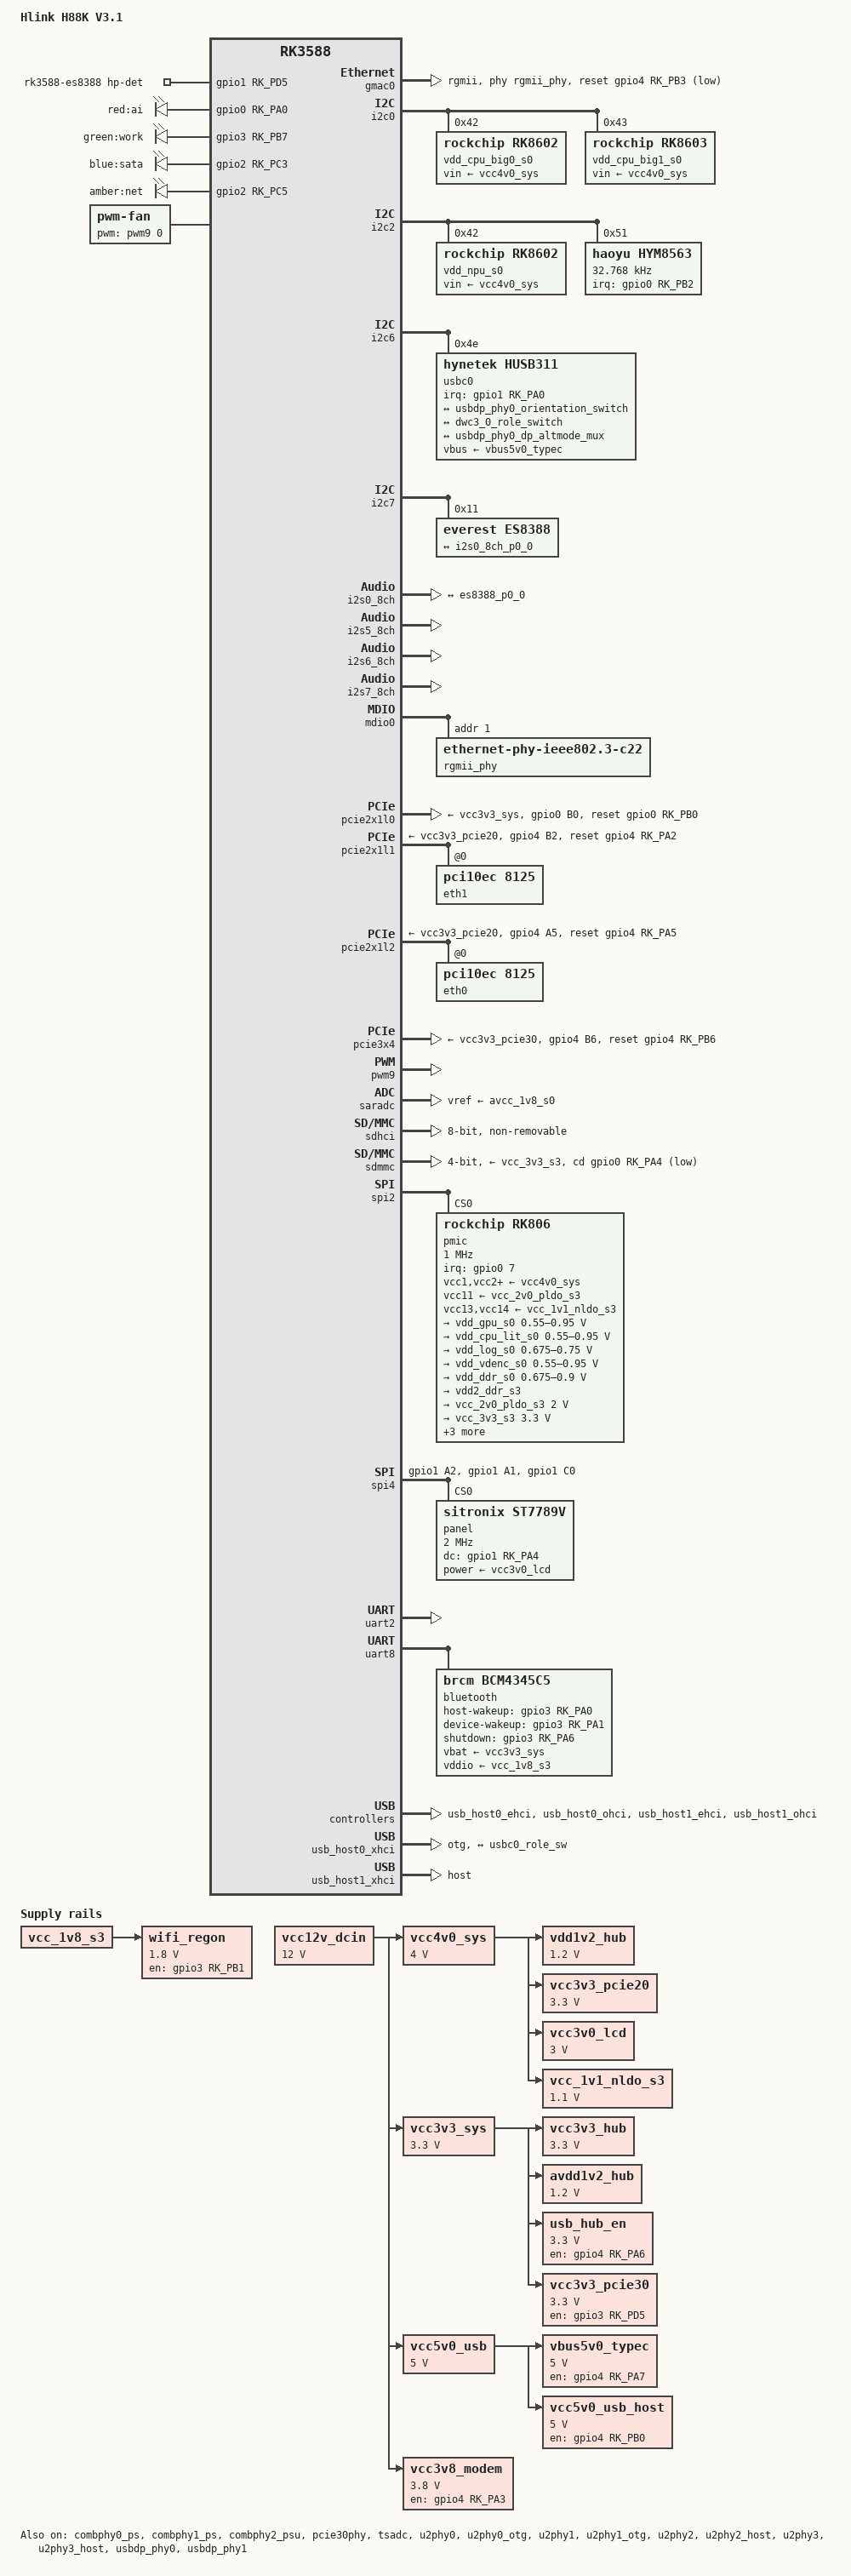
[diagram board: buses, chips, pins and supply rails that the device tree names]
// SPDX-License-Identifier: (GPL-2.0+ OR MIT)
// Copyright (c) 2024 Flippy <flippy@sina.com>

/dts-v1/;

#include <dt-bindings/gpio/gpio.h>
#include <dt-bindings/input/input.h>
#include <dt-bindings/leds/common.h>
#include <dt-bindings/pinctrl/rockchip.h>
#include <dt-bindings/pwm/pwm.h>
#include <dt-bindings/usb/pd.h>
#include "rk3588.dtsi"

/ {
	model = "Hlink H88K V3.1";
	compatible = "hlink,h88k-v31", "hlink,h88k-v3", "rockchip,rk3588";

	aliases {
		mmc0 = &sdmmc;
		mmc1 = &sdhci;
		mmc2 = &sdio;
		rtc0 = &hym8563;
	};

	chosen: chosen {
		stdout-path = "serial2:1500000n8";
	};

	analog_sound: analog-sound {
		compatible = "audio-graph-card";
		label = "rk3588-es8388";

		widgets = "Microphone", "Mic Jack",
			  "Headphone", "Headphones";

		routing = "MIC2", "Mic Jack",
			  "Headphones", "HPOL",
			  "Headphones", "HPOR";

		dais = <&i2s0_8ch_p0>;
		hp-det-gpio = <&gpio1 RK_PD5 GPIO_ACTIVE_HIGH>;
		pinctrl-names = "default";
		pinctrl-0 = <&hp_detect>;
	};

	gpio_leds: gpio-leds {
		compatible = "gpio-leds";
		pinctrl-names = "default";
		pinctrl-0 = <&led_red_ai_pin>,
		            <&led_green_work_pin>,
		            <&led_blue_sata_pin>,
		            <&led_amber_net_pin>;

		led_red_ai: led-red-ai {
			label = "red:ai";
			gpios = <&gpio0 RK_PA0 GPIO_ACTIVE_HIGH>;
			linux,default-trigger = "heartbeat";
		};

		led_green_work: led-green-work {
			label = "green:work";
			gpios = <&gpio3 RK_PB7 GPIO_ACTIVE_HIGH>;
		};

		led_blue_sata: led-blue-sata {
			label = "blue:sata";
			gpios = <&gpio2 RK_PC3 GPIO_ACTIVE_HIGH>;
		};

		led_amber_net: led-amber-net {
			label = "amber:net";
			gpios = <&gpio2 RK_PC5 GPIO_ACTIVE_HIGH>;
		};
	};

	reserved_momory: reserved-memory {
		#address-cells = <2>;
		#size-cells = <2>;
		ranges;

		/* Reserve 256MB memory for hdmirx-controller@fdee0000
		 * remove the node if hdmirx is disabled 
		 */
		cma_hdmirx: cma-hdmirx {
			compatible = "shared-dma-pool";
			reusable;
			size = <0x0 (256 * 0x100000)>;
			status = "disabled";
		};
	};

	/* dc-in or typec-in: maximum supported voltage: 22V */
	vcc12v_dcin: vcc12v-dcin {
		compatible = "regulator-fixed";
		regulator-name = "vcc12v_dcin";
		regulator-always-on;
		regulator-boot-on;
		regulator-min-microvolt = <12000000>;
		regulator-max-microvolt = <12000000>;
	};

	/* vcc4v0_sys
	 * supply by dc_in
	 * DC-DC convert by MP2491C
	 * maximum load current 6A
	 */
	vcc4v0_sys: vcc4v0-sys {
		compatible = "regulator-fixed";
		regulator-name = "vcc4v0_sys";
		regulator-always-on;
		regulator-boot-on;
		regulator-min-microvolt = <4000000>;
		regulator-max-microvolt = <4000000>;
		startup-delay-us = <100000>;
		vin-supply = <&vcc12v_dcin>;
	};

	/* vcc3v3_sys
	 * supply by dc_in, but enabled by vcc4v0_sys
	 * DC-DC convert by MP2491C
	 * maximum load current 6A
	 */
	vcc3v3_sys: vcc3v3-sys {
		compatible = "regulator-fixed";
		regulator-name = "vcc3v3_sys";
		regulator-always-on;
		regulator-boot-on;
		regulator-min-microvolt = <3300000>;
		regulator-max-microvolt = <3300000>;
		startup-delay-us = <100000>;
		vin-supply = <&vcc12v_dcin>;
	};

	/* vcc5v0_usb:
	 * supply by dc_in, but enabled by vcc3v3_sys
	 * DC-DC convert by MP2491C
	 * maximum load current 6A
	 */
	vcc5v0_usb: vcc5v0-usb {
		compatible = "regulator-fixed";
		regulator-name = "vcc5v0_usb";
		regulator-always-on;
		regulator-boot-on;
		regulator-min-microvolt = <5000000>;
		regulator-max-microvolt = <5000000>;
		vin-supply = <&vcc12v_dcin>;
	};

	/* vbusb5v0 typec
	 * power switch by TMI6263BH
	 */
	vbus5v0_typec: vbus5v0-typec {
		compatible = "regulator-fixed";
		regulator-name = "vbus5v0_typec";
		regulator-min-microvolt = <5000000>;
		regulator-max-microvolt = <5000000>;
		regulator-boot-on;
		enable-active-high;
		gpio = <&gpio4 RK_PA7 GPIO_ACTIVE_HIGH>;
		pinctrl-names = "default";
		pinctrl-0 = <&vbus5v0_typec_en>;
		vin-supply = <&vcc5v0_usb>;
	};

	/* vcc5v0 usbhost
	 * power switch by TMI6263BH
	 */
	vcc5v0_usb_host: vcc5v0-usb-host {
		compatible = "regulator-fixed";
		regulator-name = "vcc5v0_usb_host";
		regulator-min-microvolt = <5000000>;
		regulator-max-microvolt = <5000000>;
		enable-active-high;
		gpio = <&gpio4 RK_PB0 GPIO_ACTIVE_HIGH>;
		pinctrl-names = "default";
		pinctrl-0 = <&vcc5v0_usb_host_en>;
		vin-supply = <&vcc5v0_usb>;
	};

	/* vcc3v8_modem
	 * DC-DC convert by MP2315
	 * maximum load current 3A
	 */
	vcc3v8_modem: vcc3v8-modem {
		compatible = "regulator-fixed";
		enable-active-high;
		regulator-always-on;
		regulator-boot-on;
		gpios = <&gpio4 RK_PA3 GPIO_ACTIVE_HIGH>;
		regulator-min-microvolt = <3800000>;
		regulator-max-microvolt = <3800000>;
		regulator-name = "vcc3v8_modem";
		pinctrl-names = "default";
		pintctrl-0 = <&vcc3v8_modem_pwren>;
		vin-supply = <&vcc12v_dcin>;
	};

	/* 
	 * vcc3v3 hub
	 */
	vcc3v3_hub: vcc3v3-hub {
		compatible = "regulator-fixed";
		regulator-name = "vcc3v3_hub";
		regulator-always-on;
		regulator-boot-on;
		regulator-min-microvolt = <3300000>;
		regulator-max-microvolt = <3300000>;
		vin-supply = <&vcc3v3_sys>;
	};

	/*
	 * vdd1v2_hub:
	 * DC-DC 1.2V for GL3523 USB HUB
	 * convert by SY8089A1AAC
	 * maximum load current 2A
	 */
	vdd1v2_hub: vdd1v2-hub {
		compatible = "regulator-fixed";
		regulator-name = "vdd1v2_hub";
		regulator-always-on;
		regulator-boot-on;
		regulator-min-microvolt = <1200000>;
		regulator-max-microvolt = <1200000>;
		vin-supply = <&vcc4v0_sys>;
	};

	/* avdd1v2_hub:
	 * LDO 1.2V for GL3523 USB HUB
	 */
	avdd1v2_hub: avdd1v2-hub {
		compatible = "regulator-fixed";
		regulator-name = "avdd1v2_hub";
		regulator-always-on;
		regulator-boot-on;
		regulator-min-microvolt = <1200000>;
		regulator-max-microvolt = <1200000>;
		vin-supply = <&vcc3v3_sys>;
	};

	/* Actually, pull the reset pin of the USB hub high */
	usb_hub_en: usb-hub-en {
		compatible = "regulator-fixed";
		enable-active-high;
		pinctrl-names = "default";
		pintctrl-0 = <&usb_hub_rst_pin>;
		gpio = <&gpio4 RK_PA6 GPIO_ACTIVE_HIGH>;
		regulator-boot-on;
		regulator-always-on;
		regulator-min-microvolt = <3300000>;
		regulator-max-microvolt = <3300000>;
		regulator-name = "usb-hub-en";
		startup-delay-us = <50000>;
		vin-supply = <&vcc3v3_sys>;
	};

	vcc3v3_pcie20: vcc3v3-pcie20 {
		compatible = "regulator-fixed";
		regulator-name = "vcc3v3_pcie20";
		regulator-min-microvolt = <3300000>;
		regulator-max-microvolt = <3300000>;
		regulator-always-on;
		regulator-boot-on;
		vin-supply = <&vcc4v0_sys>;
	};

	vcc3v3_pcie30: vcc3v3-pcie30 {
		compatible = "regulator-fixed";
		regulator-name = "vcc3v3_pcie30";
		regulator-min-microvolt = <3300000>;
		regulator-max-microvolt = <3300000>;
		enable-active-high;
		gpios = <&gpio3 RK_PD5 GPIO_ACTIVE_HIGH>;
		startup-delay-us = <100000>;
		vin-supply = <&vcc3v3_sys>;
	};

	vcc3v0_lcd: vcc3v0-lcd {
		compatible = "regulator-fixed";
		regulator-name = "vcc3v0_lcd";
		regulator-always-on;
		regulator-boot-on;
		regulator-min-microvolt = <3000000>;
		regulator-max-microvolt = <3000000>;
		vin-supply = <&vcc4v0_sys>;
	};

	vcc_1v1_nldo_s3: vcc-1v1-nldo-s3 {
		compatible = "regulator-fixed";
		regulator-name = "vcc_1v1_nldo_s3";
		regulator-always-on;
		regulator-boot-on;
		regulator-min-microvolt = <1100000>;
		regulator-max-microvolt = <1100000>;
		vin-supply = <&vcc4v0_sys>;
	};

	/* wifi regon support some wifi modules like rtl8723be */
	wifi_regon: wifi-regon {
		compatible = "regulator-fixed";
		enable-active-high;
		gpio = <&gpio3 RK_PB1 GPIO_ACTIVE_HIGH>;
		regulator-boot-on;
		regulator-always-on;
		regulator-min-microvolt = <1800000>;
		regulator-max-microvolt = <1800000>;
		regulator-name = "wifi_regon";
		startup-delay-us = <5000>;
		vin-supply = <&vcc_1v8_s3>;
	};

	fan: pwm-fan {
		compatible = "pwm-fan";
		#cooling-cells = <2>;
		cooling-levels = <0 64 128 192 255>;
		pwms = <&pwm9 0 50000 0>;
	};

	rfkill: rfkill {
		compatible = "rfkill-gpio";

		rfkill_modem: rfkill-modem {
			label = "rfkill-modem";
			radio-type = "wwan";
			reset-gpios = <&gpio4 RK_PC6 GPIO_ACTIVE_HIGH>;
			pinctrl-names = "default";
			pinctrl-0 = <&modem_reset_pin>;
		};
	};
};

&combphy0_ps {
	status = "okay";
};

&combphy1_ps {
	status = "okay";
};

&combphy2_psu {
	status = "okay";
};

&cpu_b0 {
	cpu-supply = <&vdd_cpu_big0_s0>;
};

&cpu_b1 {
	cpu-supply = <&vdd_cpu_big0_s0>;
};

&cpu_b2 {
	cpu-supply = <&vdd_cpu_big1_s0>;
};

&cpu_b3 {
	cpu-supply = <&vdd_cpu_big1_s0>;
};

&cpu_l0 {
	cpu-supply = <&vdd_cpu_lit_s0>;
};

&cpu_l1 {
	cpu-supply = <&vdd_cpu_lit_s0>;
};

&cpu_l2 {
	cpu-supply = <&vdd_cpu_lit_s0>;
};

&cpu_l3 {
	cpu-supply = <&vdd_cpu_lit_s0>;
};

/* gmac0: eth2 */
&gmac0 {
	status = "okay";
	label = "eth2";
	pinctrl-names = "default";
	pinctrl-0 = <&gmac0_miim
		     &gmac0_tx_bus2
		     &gmac0_rx_bus2
		     &gmac0_rgmii_clk
		     &gmac0_rgmii_bus>;

	phy-handle = <&rgmii_phy>;

	clock_in_out = "output";
	phy-mode = "rgmii";
	tx_delay = <0x3e>;
	rx_delay = <0x2f>;

	snps,reset-gpio = <&gpio4 RK_PB3 GPIO_ACTIVE_LOW>;
	snps,reset-active-low;
	/* Reset time is 20ms, 100ms for rtl8211f */
	snps,reset-delays-us = <0 20000 100000>;
};

&i2c0 {
	pinctrl-names = "default";
	pinctrl-0 = <&i2c0m2_xfer>;
	status = "okay";

	vdd_cpu_big0_s0: regulator@42 {
		compatible = "rockchip,rk8602";
		reg = <0x42>;
		fcs,suspend-voltage-selector = <1>;
		regulator-name = "vdd_cpu_big0_s0";
		regulator-always-on;
		regulator-boot-on;
		regulator-min-microvolt = <550000>;
		regulator-max-microvolt = <1050000>;
		regulator-ramp-delay = <2300>;
		vin-supply = <&vcc4v0_sys>;

		regulator-state-mem {
			regulator-off-in-suspend;
		};
	};

	vdd_cpu_big1_s0: regulator@43 {
		compatible = "rockchip,rk8603", "rockchip,rk8602";
		reg = <0x43>;
		fcs,suspend-voltage-selector = <1>;
		regulator-name = "vdd_cpu_big1_s0";
		regulator-always-on;
		regulator-boot-on;
		regulator-min-microvolt = <550000>;
		regulator-max-microvolt = <1050000>;
		regulator-ramp-delay = <2300>;
		vin-supply = <&vcc4v0_sys>;

		regulator-state-mem {
			regulator-off-in-suspend;
		};
	};
};

&i2c2 {
	status = "okay";

	vdd_npu_s0: regulator@42 {
		compatible = "rockchip,rk8602";
		reg = <0x42>;
		fcs,suspend-voltage-selector = <1>;
		regulator-name = "vdd_npu_s0";
		regulator-always-on;
		regulator-boot-on;
		regulator-min-microvolt = <550000>;
		regulator-max-microvolt = <950000>;
		regulator-ramp-delay = <2300>;
		vin-supply = <&vcc4v0_sys>;

		regulator-state-mem {
			regulator-off-in-suspend;
		};
	};

	hym8563: rtc@51 {
		compatible = "haoyu,hym8563";
		reg = <0x51>;
		#clock-cells = <0>;
		clock-frequency = <32768>;
		clock-output-names = "hym8563";
		pinctrl-names = "default";
		pinctrl-0 = <&rtc_int>;
		interrupt-parent = <&gpio0>;
		interrupts = <RK_PB2 IRQ_TYPE_LEVEL_LOW>;
		wakeup-source;
	};
};

&i2c6 {
	status = "okay";

	usbc0: husb311@4e {
		status = "okay";
		compatible = "hynetek,husb311";
		reg = <0x4e>;
		interrupt-parent = <&gpio1>;
		interrupts = <RK_PA0 IRQ_TYPE_LEVEL_LOW>;
		pinctrl-names = "default";
		pinctrl-0 = <&usbc0_int>;
		vbus-supply = <&vbus5v0_typec>;

		usb_con: connector {
			compatible = "usb-c-connector";
			data-role = "dual";
			label = "USB-C";
			power-role = "source";
			source-pdos =
				<PDO_FIXED(5000, 3000, PDO_FIXED_USB_COMM)>;

			ports {
				#address-cells = <1>;
				#size-cells = <0>;

				port@0 {
					reg = <0>;

					usbc0_orien_sw: endpoint {
						remote-endpoint = <&usbdp_phy0_orientation_switch>;
					};
				};

				port@1 {
					reg = <1>;

					usbc0_role_sw: endpoint {
						remote-endpoint = <&dwc3_0_role_switch>;
					};
				};

				port@2 {
					reg = <2>;

					dp_altmode_mux: endpoint {
						remote-endpoint = <&usbdp_phy0_dp_altmode_mux>;
					};
				};
			};
		};
	};
};

&i2c7 {
	status = "okay";

	es8388: audio-codec@11 {
		compatible = "everest,es8388", "everest,es8323";
		reg = <0x11>;
		clocks = <&cru I2S0_8CH_MCLKOUT>;
		clock-names = "mclk";
		assigned-clocks = <&cru I2S0_8CH_MCLKOUT>;
		assigned-clock-rates = <12288000>;
		#sound-dai-cells = <0>;

		port {
			es8388_p0_0: endpoint {
				remote-endpoint = <&i2s0_8ch_p0_0>;
			};
		};
	};
};

&i2s0_8ch {
	pinctrl-names = "default";
	pinctrl-0 = <&i2s0_lrck
		     &i2s0_mclk
		     &i2s0_sclk
		     &i2s0_sdi0
		     &i2s0_sdo0>;
	status = "okay";

	i2s0_8ch_p0: port {
		i2s0_8ch_p0_0: endpoint {
			dai-format = "i2s";
			mclk-fs = <256>;
			remote-endpoint = <&es8388_p0_0>;
		};
	};
};

&i2s5_8ch {
	status = "okay";
};

&i2s6_8ch {
	status = "okay";
};

&i2s7_8ch {
	status = "okay";
};

&mdio0 {
	rgmii_phy: phy@1 {
		compatible = "ethernet-phy-ieee802.3-c22";
		reg = <0x1>;
	};
};

&package_thermal {
	polling-delay = <1000>;

	trips {
		package_fan0: package-fan0 {
			temperature = <55000>;
			hysteresis = <2000>;
			type = "active";
		};

		package_fan1: package-fan1 {
			temperature = <65000>;
			hysteresis = <2000>;
			type = "active";
		};
	};

	cooling-maps {
		map0 {
			trip = <&package_fan0>;
			cooling-device = <&fan THERMAL_NO_LIMIT 1>;
		};

		map1 {
			trip = <&package_fan1>;
			cooling-device = <&fan 2 THERMAL_NO_LIMIT>;
		};
	};
};

/*
 * pce2x1l0 or sata1 => combphy1_ps
 * H88K v3.1: pcie2x1l0 is M.2 (A+E Key) socket for WiFi/Bluetooth
 */
&pcie2x1l0 {
	pinctrl-names = "default";
	pinctrl-0 = <&pcie2_0_rst>;
	reset-gpios = <&gpio0 RK_PB0 GPIO_ACTIVE_HIGH>;
	status = "okay";
	vpcie3v3-supply = <&vcc3v3_sys>;
};

/*
 * pcie2x1l1 or sata2 or usb30_2 => combphy2_psu
 * combphy2_psu: pcie2x1l1 or sata2 or (usbhost3_0 + usbhost_dwc3_0)
 * H88K V3.1: pcie2x1l1 used for rtl8125b
 */
&pcie2x1l1 {
        pinctrl-names = "default";
        pinctrl-0 = <&pcie2_1_rst>;
	reset-gpios = <&gpio4 RK_PA2 GPIO_ACTIVE_HIGH>;
	status = "okay";
	vpcie3v3-supply = <&vcc3v3_pcie20>;

	pcie@0,0 {
		reg = <0x00300000 0 0 0 0>;
		#address-cells = <3>;
		#size-cells = <2>;

		rtl8125_1: pcie-eth@0,0 {
			compatible = "pci10ec,8125";
			label = "eth1";
			reg = <0x000000 0 0 0 0>;

			/*
			 * G+ 3v3
			 * G- LED3: ACT on all speed
			 * Y+ 3v3
			 * Y- LED2: LINK on 10 + 100 + 1000 + 2500
			 */
			r8125,led2 = <0x002b>;
			r8125,led3 = <0x0200>;
		};
	};
};

/* rtl8125b eth0 */
&pcie2x1l2 {
	pinctrl-names = "default";
	pinctrl-0 = <&pcie2_2_rst>;
	reset-gpios = <&gpio4 RK_PA5 GPIO_ACTIVE_HIGH>;
	status = "okay";
	vpcie3v3-supply = <&vcc3v3_pcie20>;

	pcie@0,0 {
		reg = <0x00400000 0 0 0 0>;
		#address-cells = <3>;
		#size-cells = <2>;

		rtl8125_2: pcie-eth@0,0 {
			compatible = "pci10ec,8125";
			label = "eth0";
			reg = <0x000000 0 0 0 0>;

			/*
			 * G+ 3v3
			 * G- LED3: ACT on all speed
			 * Y+ 3v3
			 * Y- LED2: LINK on 10 + 100 + 1000 + 2500
			 */
			r8125,led2 = <0x002b>;
			r8125,led3 = <0x0200>;
		};
	};
};

&pcie30phy {
	status = "okay";
};

/*
 * pcie3x4 => pcie30phy
 * H88K v3.1: pcie3x4 is M.2 (M Key) socket for NVME ssd
 */
&pcie3x4 {
	pinctrl-names = "default";
	pinctrl-0 = <&pcie3_rst>;
	reset-gpios = <&gpio4 RK_PB6 GPIO_ACTIVE_HIGH>;
	status = "okay";
	vpcie3v3-supply = <&vcc3v3_pcie30>;
};

&pinctrl {
	audio {
		hp_detect: headphone-detect {
			rockchip,pins = <1 RK_PD5 RK_FUNC_GPIO &pcfg_pull_none>;
		};
	};

	bt {
		bt_wake_host_h: bt-wake-host-h {
			rockchip,pins = <3 RK_PA0 RK_FUNC_GPIO &pcfg_pull_none>;
		};

		host_wake_bt_h: host-wake-bt-h {
			rockchip,pins = <3 RK_PA1 RK_FUNC_GPIO &pcfg_pull_none>;
		};

		bt_reg_on_h: bt-reg-on-h {
			rockchip,pins = <3 RK_PA6 RK_FUNC_GPIO &pcfg_pull_none>;
		};

	};

	hdmirx {
		hdmirx_det: hdmirx-det {
			rockchip,pins = <2 RK_PB5 RK_FUNC_GPIO &pcfg_pull_up>;
		};
	};

	ir {
		ir_int_pin: ir-int-pin {
			rockchip,pins = <0 RK_PD4 RK_FUNC_GPIO &pcfg_pull_up>;
		};
	};

	lcd {
		lcd_dc_pin: lcd-dc-pin {
			rockchip,pins = <1 RK_PA4 RK_FUNC_GPIO &pcfg_pull_up_drv_level_6>;
		};

		spi4_custom_pins: spi4-custom-pins {
			rockchip,pins =
				/* spi4_clk_m2 */
				<1 RK_PA2 8 &pcfg_pull_up_drv_level_6>,
				/* spi4_mosi_m2 */
				<1 RK_PA1 8 &pcfg_pull_up_drv_level_6>,
				/* spi4_miso_m0 */
				<1 RK_PC0 8 &pcfg_pull_up_drv_level_6>;
		};
	};

	leds {
		led_red_ai_pin: led-red-ai-pin {
			rockchip,pins = <0 RK_PA0 RK_FUNC_GPIO &pcfg_pull_none>;
		};

		led_green_work_pin: led-green-work-pin {
			rockchip,pins = <3 RK_PB7 RK_FUNC_GPIO &pcfg_pull_none>;
		};

		led_blue_sata_pin: led-blue-sata-pin {
			rockchip,pins = <2 RK_PC3 RK_FUNC_GPIO &pcfg_pull_none>;
		};

		led_amber_net_pin: led-amber-net-pin {
			rockchip,pins = <2 RK_PC5 RK_FUNC_GPIO &pcfg_pull_none>;
		};
	};

	modem {
		vcc3v8_modem_pwren: vcc3v8-modem-pwren {
			rockchip,pins = <4 RK_PA3 RK_FUNC_GPIO &pcfg_pull_none>;
		};

		modem_reset_pin: modem-reset-pin {
			rockchip,pins = <4 RK_PC6 RK_FUNC_GPIO &pcfg_pull_down>;
		};
	};

	pcie2 {
		pcie2_0_rst: pcie2-0-rst {
			rockchip,pins = <0 RK_PB0 RK_FUNC_GPIO &pcfg_pull_none>;
		};

		pcie2_1_rst: pcie2-1-rst {
			rockchip,pins = <4 RK_PB2 RK_FUNC_GPIO &pcfg_pull_none>;
		};

		pcie2_2_rst: pcie2-2-rst {
			rockchip,pins = <4 RK_PA5 RK_FUNC_GPIO &pcfg_pull_none>;
		};
	};

	pcie3 {
		pcie3_rst: pcie3-rst {
			rockchip,pins = <4 RK_PB6 RK_FUNC_GPIO &pcfg_pull_none>;
		};
	};

	rtc {
		rtc_int: rtc-int {
			rockchip,pins = <0 RK_PB2 RK_FUNC_GPIO &pcfg_pull_none>;
		};
	};

	usb {
		usbc0_int: usbc0-int {
			rockchip,pins = <1 RK_PA0 RK_FUNC_GPIO &pcfg_pull_none>;
		};

		usb_hub_rst_pin: usb-hub-rst-pin {
			rockchip,pins = <4 RK_PA6 RK_FUNC_GPIO &pcfg_pull_none>;
		};

		vbus5v0_typec_en: vbus5v0-typec-en {
			rockchip,pins = <4 RK_PA7 RK_FUNC_GPIO &pcfg_pull_none>;
		};

		vcc5v0_usb_host_en: vcc5v0_usb_host_en {
			rockchip,pins = <4 RK_PB0 RK_FUNC_GPIO &pcfg_pull_none>;
		};
	};
};

&pwm9 {
	pinctrl-names = "default";
	pinctrl-0 = <&pwm9m0_pins>;
	status = "okay";
};

&saradc {
	vref-supply = <&avcc_1v8_s0>;
	status = "okay";
};

&sdhci {
	bus-width = <8>;
	no-sdio;
	no-sd;
	non-removable;
	mmc-ddr-1_8v;
	mmc-hs200-1_8v;
	status = "okay";
};

&sdmmc {
	max-frequency = <200000000>;
	no-sdio;
	no-mmc;
	bus-width = <4>;
	cap-mmc-highspeed;
	cap-sd-highspeed;
	cd-gpios = <&gpio0 RK_PA4 GPIO_ACTIVE_LOW>;
	disable-wp;
	sd-uhs-sdr104;
	vmmc-supply = <&vcc_3v3_s3>;
	vqmmc-supply = <&vccio_sd_s0>;
	status = "okay";
};

&spi2 {
	status = "okay";
	assigned-clocks = <&cru CLK_SPI2>;
	assigned-clock-rates = <200000000>;
	pinctrl-names = "default";
	pinctrl-0 = <&spi2m2_cs0 &spi2m2_pins>;
	num-cs = <1>;

	pmic@0 {
		compatible = "rockchip,rk806";
		spi-max-frequency = <1000000>;
		reg = <0x0>;

		interrupt-parent = <&gpio0>;
		interrupts = <7 IRQ_TYPE_LEVEL_LOW>;

		pinctrl-names = "default";
		pinctrl-0 = <&pmic_pins>, <&rk806_dvs1_null>,
			    <&rk806_dvs2_null>, <&rk806_dvs3_null>;
		pinctrl-1 = <&rk806_dvs1_pwrdn>;

		/* 2800mv-3500mv */
		low_voltage_threshold = <3000>;
		/* 2700mv-3400mv */
		shutdown_voltage_threshold = <2700>;
		/* 140 160 */
		shutdown_temperture_threshold = <160>;
		hotdie_temperture_threshold = <115>;

		/* 0: restart PMU;
		 * 1: reset all the power off reset registers,
		 *    forcing the state to switch to ACTIVE mode;
		 * 2: Reset all the power off reset registers,
		 *    forcing the state to switch to ACTIVE mode,
		 *    and simultaneously pull down the RESETB PIN for 5mS before releasing
		 */
		pmic-reset-func = <2>;

		system-power-controller;

		vcc1-supply = <&vcc4v0_sys>;
		vcc2-supply = <&vcc4v0_sys>;
		vcc3-supply = <&vcc4v0_sys>;
		vcc4-supply = <&vcc4v0_sys>;
		vcc5-supply = <&vcc4v0_sys>;
		vcc6-supply = <&vcc4v0_sys>;
		vcc7-supply = <&vcc4v0_sys>;
		vcc8-supply = <&vcc4v0_sys>;
		vcc9-supply = <&vcc4v0_sys>;
		vcc10-supply = <&vcc4v0_sys>;
		vcc11-supply = <&vcc_2v0_pldo_s3>;
		vcc12-supply = <&vcc4v0_sys>;
		vcc13-supply = <&vcc_1v1_nldo_s3>;
		vcc14-supply = <&vcc_1v1_nldo_s3>;
		vcca-supply = <&vcc4v0_sys>;

		pinctrl_rk806: pinctrl_rk806 {
			gpio-controller;
			#gpio-cells = <2>;

			rk806_dvs1_null: rk806_dvs1_null {
				pins = "gpio_pwrctrl1";
				function = "pin_fun0";
			};

			rk806_dvs1_slp: rk806_dvs1_slp {
				pins = "gpio_pwrctrl1";
				function = "pin_fun1";
			};

			rk806_dvs1_pwrdn: rk806_dvs1_pwrdn {
				pins = "gpio_pwrctrl1";
				function = "pin_fun2";
			};

			rk806_dvs1_rst: rk806_dvs1_rst {
				pins = "gpio_pwrctrl1";
				function = "pin_fun3";
			};

			rk806_dvs2_null: rk806_dvs2_null {
				pins = "gpio_pwrctrl2";
				function = "pin_fun0";
			};

			rk806_dvs2_slp: rk806_dvs2_slp {
				pins = "gpio_pwrctrl2";
				function = "pin_fun1";
			};

			rk806_dvs2_pwrdn: rk806_dvs2_pwrdn {
				pins = "gpio_pwrctrl2";
				function = "pin_fun2";
			};

			rk806_dvs2_rst: rk806_dvs2_rst {
				pins = "gpio_pwrctrl2";
				function = "pin_fun3";
			};

			rk806_dvs2_dvs: rk806_dvs2_dvs {
				pins = "gpio_pwrctrl2";
				function = "pin_fun4";
			};

			rk806_dvs2_gpio: rk806_dvs2_gpio {
				pins = "gpio_pwrctrl2";
				function = "pin_fun5";
			};

			rk806_dvs3_null: rk806_dvs3_null {
				pins = "gpio_pwrctrl3";
				function = "pin_fun0";
			};

			rk806_dvs3_slp: rk806_dvs3_slp {
				pins = "gpio_pwrctrl3";
				function = "pin_fun1";
			};

			rk806_dvs3_pwrdn: rk806_dvs3_pwrdn {
				pins = "gpio_pwrctrl3";
				function = "pin_fun2";
			};

			rk806_dvs3_rst: rk806_dvs3_rst {
				pins = "gpio_pwrctrl3";
				function = "pin_fun3";
			};

			rk806_dvs3_dvs: rk806_dvs3_dvs {
				pins = "gpio_pwrctrl3";
				function = "pin_fun4";
			};

			rk806_dvs3_gpio: rk806_dvs3_gpio {
				pins = "gpio_pwrctrl3";
				function = "pin_fun5";
			};
		};

		pwrkey {
			status = "okay";
		};

		regulators {
			vdd_gpu_s0: vdd_gpu_mem_s0: dcdc-reg1 {
				regulator-boot-on;
				regulator-min-microvolt = <550000>;
				regulator-max-microvolt = <950000>;
				regulator-ramp-delay = <12500>;
				regulator-name = "vdd_gpu_s0";
				regulator-enable-ramp-delay = <400>;

				regulator-state-mem {
					regulator-off-in-suspend;
				};
			};

			vdd_cpu_lit_s0: vdd_cpu_lit_mem_s0: dcdc-reg2 {
				regulator-always-on;
				regulator-boot-on;
				regulator-min-microvolt = <550000>;
				regulator-max-microvolt = <950000>;
				regulator-ramp-delay = <12500>;
				regulator-name = "vdd_cpu_lit_s0";

				regulator-state-mem {
					regulator-off-in-suspend;
				};
			};

			vdd_log_s0: dcdc-reg3 {
				regulator-always-on;
				regulator-boot-on;
				regulator-min-microvolt = <675000>;
				regulator-max-microvolt = <750000>;
				regulator-ramp-delay = <12500>;
				regulator-name = "vdd_log_s0";

				regulator-state-mem {
					regulator-off-in-suspend;
					regulator-suspend-microvolt = <750000>;
				};
			};

			vdd_vdenc_s0: vdd_vdenc_mem_s0: dcdc-reg4 {
				regulator-always-on;
				regulator-boot-on;
				regulator-min-microvolt = <550000>;
				regulator-max-microvolt = <950000>;
				regulator-ramp-delay = <12500>;
				regulator-name = "vdd_vdenc_s0";

				regulator-state-mem {
					regulator-off-in-suspend;
				};
			};

			vdd_ddr_s0: dcdc-reg5 {
				regulator-always-on;
				regulator-boot-on;
				regulator-min-microvolt = <675000>;
				regulator-max-microvolt = <900000>;
				regulator-ramp-delay = <12500>;
				regulator-name = "vdd_ddr_s0";

				regulator-state-mem {
					regulator-off-in-suspend;
					regulator-suspend-microvolt = <850000>;
				};
			};

			vdd2_ddr_s3: dcdc-reg6 {
				regulator-always-on;
				regulator-boot-on;
				regulator-name = "vdd2_ddr_s3";

				regulator-state-mem {
					regulator-on-in-suspend;
				};
			};

			vcc_2v0_pldo_s3: dcdc-reg7 {
				regulator-always-on;
				regulator-boot-on;
				regulator-min-microvolt = <2000000>;
				regulator-max-microvolt = <2000000>;
				regulator-ramp-delay = <12500>;
				regulator-name = "vdd_2v0_pldo_s3";

				regulator-state-mem {
					regulator-on-in-suspend;
					regulator-suspend-microvolt = <2000000>;
				};
			};

			vcc_3v3_s3: dcdc-reg8 {
				regulator-always-on;
				regulator-boot-on;
				regulator-min-microvolt = <3300000>;
				regulator-max-microvolt = <3300000>;
				regulator-name = "vcc_3v3_s3";

				regulator-state-mem {
					regulator-on-in-suspend;
					regulator-suspend-microvolt = <3300000>;
				};
			};

			vddq_ddr_s0: dcdc-reg9 {
				regulator-always-on;
				regulator-boot-on;
				regulator-name = "vddq_ddr_s0";

				regulator-state-mem {
					regulator-off-in-suspend;
				};
			};

			vcc_1v8_s3: dcdc-reg10 {
				regulator-always-on;
				regulator-boot-on;
				regulator-min-microvolt = <1800000>;
				regulator-max-microvolt = <1800000>;
				regulator-name = "vcc_1v8_s3";

				regulator-state-mem {
					regulator-on-in-suspend;
					regulator-suspend-microvolt = <1800000>;
				};
			};

			avcc_1v8_s0: pldo-reg1 {
				regulator-always-on;
				regulator-boot-on;
				regulator-min-microvolt = <1800000>;
				regulator-max-microvolt = <1800000>;
				regulator-name = "avcc_1v8_s0";

				regulator-state-mem {
					regulator-off-in-suspend;
				};
			};

			vcc_1v8_s0: pldo-reg2 {
				regulator-always-on;
				regulator-boot-on;
				regulator-min-microvolt = <1800000>;
				regulator-max-microvolt = <1800000>;
				regulator-name = "vcc_1v8_s0";

				regulator-state-mem {
					regulator-off-in-suspend;
					regulator-suspend-microvolt = <1800000>;
				};
			};

			avdd_1v2_s0: pldo-reg3 {
				regulator-always-on;
				regulator-boot-on;
				regulator-min-microvolt = <1200000>;
				regulator-max-microvolt = <1200000>;
				regulator-name = "avdd_1v2_s0";

				regulator-state-mem {
					regulator-off-in-suspend;
				};
			};

			vcc_3v3_s0: pldo-reg4 {
				regulator-always-on;
				regulator-boot-on;
				regulator-min-microvolt = <3300000>;
				regulator-max-microvolt = <3300000>;
				regulator-ramp-delay = <12500>;
				regulator-name = "vcc_3v3_s0";

				regulator-state-mem {
					regulator-off-in-suspend;
				};
			};

			vccio_sd_s0: pldo-reg5 {
				regulator-always-on;
				regulator-boot-on;
				regulator-min-microvolt = <1800000>;
				regulator-max-microvolt = <3300000>;
				regulator-ramp-delay = <12500>;
				regulator-name = "vccio_sd_s0";

				regulator-state-mem {
					regulator-off-in-suspend;
				};
			};

			pldo6_s3: pldo-reg6 {
				regulator-always-on;
				regulator-boot-on;
				regulator-min-microvolt = <1800000>;
				regulator-max-microvolt = <1800000>;
				regulator-name = "pldo6_s3";

				regulator-state-mem {
					regulator-on-in-suspend;
					regulator-suspend-microvolt = <1800000>;
				};
			};

			vdd_0v75_s3: nldo-reg1 {
				regulator-always-on;
				regulator-boot-on;
				regulator-min-microvolt = <750000>;
				regulator-max-microvolt = <750000>;
				regulator-name = "vdd_0v75_s3";

				regulator-state-mem {
					regulator-on-in-suspend;
					regulator-suspend-microvolt = <750000>;
				};
			};

			vdd_ddr_pll_s0: nldo-reg2 {
				regulator-always-on;
				regulator-boot-on;
				regulator-min-microvolt = <850000>;
				regulator-max-microvolt = <850000>;
				regulator-name = "vdd_ddr_pll_s0";

				regulator-state-mem {
					regulator-off-in-suspend;
					regulator-suspend-microvolt = <850000>;
				};
			};

			avdd_0v75_s0: nldo-reg3 {
				regulator-always-on;
				regulator-boot-on;
				regulator-min-microvolt = <750000>;
				regulator-max-microvolt = <750000>;
				regulator-name = "avdd_0v75_s0";

				regulator-state-mem {
					regulator-off-in-suspend;
				};
			};

			vdd_0v85_s0: nldo-reg4 {
				regulator-always-on;
				regulator-boot-on;
				regulator-min-microvolt = <850000>;
				regulator-max-microvolt = <850000>;
				regulator-name = "vdd_0v85_s0";

				regulator-state-mem {
					regulator-off-in-suspend;
				};
			};

			vdd_0v75_s0: nldo-reg5 {
				regulator-always-on;
				regulator-boot-on;
				regulator-min-microvolt = <750000>;
				regulator-max-microvolt = <750000>;
				regulator-name = "vdd_0v75_s0";

				regulator-state-mem {
					regulator-off-in-suspend;
				};
			};
		};
	};
};

/* LCD:   st7789v, 135(H) x 240(V), 8pin, 4Line SPI
 * pin1:  LEDA:  LED Anode.
 * pin2:  GND:   Power Ground.
 * pin3:  RESET: This signal will reset th device, Signal is active low.
 * pin4:  RS:    Display data/command selection pin in 4-line serial interface.  --> gpio1 RK_PA4
 * pin5:  SDA:   SPI interface input/output pin.                                 --> gpio1 RK_PA1
 * pin6:  SCL:   This pin is used to be serial interface clock                   --> gpio1 RK_PA2
 * pin7:  VDD:   Power Supply for Analog
 * pin8:  CS:    Chip selection pin. Low enable, High disable.                   --> gpio1 RK_PA3
 */
&spi4 {
	#address-cells = <1>;
	#size-cells = <0>;
	assigned-clocks = <&cru CLK_SPI4>;
	assigned-clock-rates = <200000000>;
	num-cs = <1>;
	pinctrl-names = "default";
	pinctrl-0 = <&spi4_custom_pins &spi4m2_cs0>;
	status = "okay";

	panel@0 {
		compatible = "sitronix,st7789v";
		reg = <0>;
		power-supply = <&vcc3v0_lcd>;

		pinctrl-names = "default";
		pinctrl-0 = <&lcd_dc_pin>;
		dc-gpios = <&gpio1 RK_PA4 GPIO_ACTIVE_HIGH>;

		/* 2Mhz */
                spi-max-frequency = <2000000>;

		//width = <135>;
		//height = <240>;
		//fps = <20>;
		buswidth = <8>;
		rotate = <90>;

		/* debug: 0-7 */
		debug = <0>;
		//spi-cpol;
		//spi-cpha;
	};
};

&tsadc {
	status = "okay";
};

&uart2 {
	pinctrl-0 = <&uart2m0_xfer>;
	status = "okay";
};

&uart8 {
	pinctrl-names = "default";
	pinctrl-0 = <&uart8m1_xfer &uart8m1_ctsn &uart8m1_rtsn>;
	status = "okay";

	bluetooth: bluetooth {
		compatible = "brcm,bcm4345c5";
		clocks = <&hym8563>;
		clock-names = "ext_clock";

		//BT_WAKE_HOST
		host-wakeup-gpios = <&gpio3 RK_PA0 GPIO_ACTIVE_HIGH>;

		//HOST_WAKE_BT
		device-wakeup-gpios = <&gpio3 RK_PA1 GPIO_ACTIVE_HIGH>;

		//BT_REG_ON_H
		shutdown-gpios = <&gpio3 RK_PA6 GPIO_ACTIVE_HIGH>;

		max-speed = <1500000>;
		pinctrl-names = "default";
		pinctrl-0 = <&bt_wake_host_h &host_wake_bt_h &bt_reg_on_h>;
		vbat-supply = <&vcc3v3_sys>;
		vddio-supply = <&vcc_1v8_s3>; 
	};
};

/* typec0 phy */
&u2phy0 {
	status = "okay";
};

/* typec0 phy */
&u2phy0_otg {
	vbus-supply = <&vbus5v0_typec>;
	status = "okay";
};

/* typec1 phy */
&u2phy1 {
	status = "okay";
};

/* typec1 phy */
&u2phy1_otg {
	phy-supply = <&vcc5v0_usb_host>;
	status = "okay";
};

&u2phy2 {
	status = "okay";
};

&u2phy2_host {
	phy-supply = <&vcc5v0_usb_host>;
	status = "okay";
};

&u2phy3 {
	status = "okay";
};

&u2phy3_host {
	phy-supply = <&vcc5v0_usb_host>;
	status = "okay";
};

/* phy is u2phy2_host */
&usb_host0_ehci {
	status = "okay";
};

/* phy is u2phy2_host */
&usb_host0_ohci {
	status = "okay";
};

/* typec0:
 *   host: usb_host0_xhci
 *   usb2.0 phy: usb2phy0_grf/u2phy0/u2phy0_otg
 *   usb3.0 phy: usbdp_phy0
 */
&usb_host0_xhci {
	dr_mode = "otg";
	usb-role-switch;
	status = "okay";

	port {
		#address-cells = <1>;
		#size-cells = <0>;

		dwc3_0_role_switch: endpoint@0 {
			reg = <0>;
			remote-endpoint = <&usbc0_role_sw>;
		};
	};
};

/* phy is u2phy3_host */
&usb_host1_ehci {
	status = "okay";
};

/* phy is u2phy3_host */
&usb_host1_ohci {
	status = "okay";
};

/*
 * typec1:
 * host: usb_host1_xhci
 * usb2.0 phy: usb2phy1_grf/u2phy1/u2phy1_otg
 * usb3.0 phy: usbdp_phy1
 * connect to GL3523 HUB
 */ 
&usb_host1_xhci {
	dr_mode = "host";
	status = "okay";
};

/* typec0 phy */
&usbdp_phy0 {
	mode-switch;
	orientation-switch;
	sbu1-dc-gpios = <&gpio0 RK_PC6 GPIO_ACTIVE_HIGH>;
	sbu2-dc-gpios = <&gpio0 RK_PD3 GPIO_ACTIVE_HIGH>;
	status = "okay";

	port {
		#address-cells = <1>;
		#size-cells = <0>;
		usbdp_phy0_orientation_switch: endpoint@0 {
			reg = <0>;
			remote-endpoint = <&usbc0_orien_sw>;
		};

		usbdp_phy0_dp_altmode_mux: endpoint@1 {
			reg = <1>;
			remote-endpoint = <&dp_altmode_mux>;
		};
	};
};

/* typec1 phy */
&usbdp_phy1 {
	status = "okay";
};
